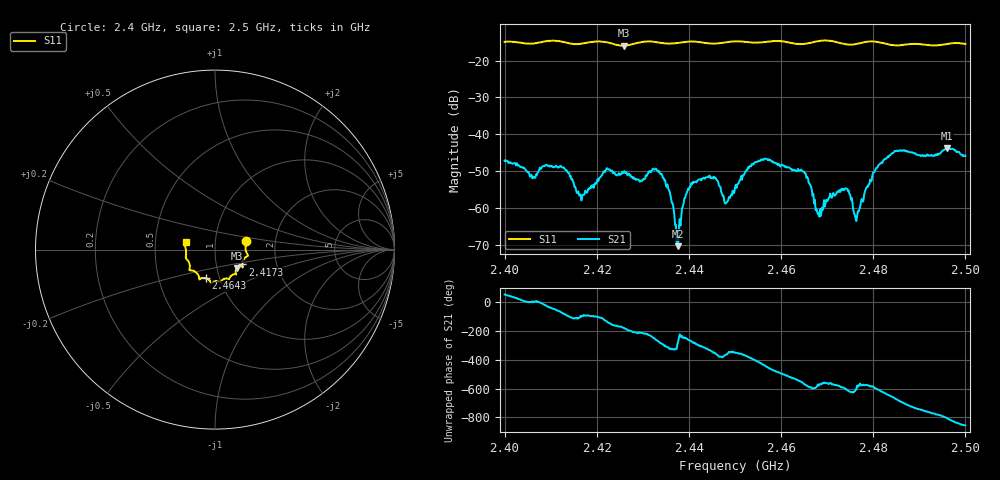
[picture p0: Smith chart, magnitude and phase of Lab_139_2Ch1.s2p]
# Hz S RI R 50
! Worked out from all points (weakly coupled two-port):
!   601 points, 2.4 GHz to 2.5 GHz, reference 50 ohm
!   highest |S21| = -43.73 dB at 2.496 GHz (marker M1); lowest = -70.4 dB at 2.4377 GHz (marker M2)
!   lowest |S11| = -15.9 dB at 2.4258 GHz (marker M3), VSWR 1.38, Z = 62.2 - j13.3 ohm
!   |S11| at or under -10 dB: start of sweep to end of sweep
!   S12 and S22 are empty: the file has one direction only
!   S11 on the Smith chart (normalised r, x): 2.4 GHz: 1.41, +0.14; 2.4173 GHz: 1.34, -0.23; 2.4643 GHz: 0.86, -0.28; 2.5 GHz: 0.72, +0.06
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2.4e9  0.1736 0.0493  0.00264 0.00351  0 0  0 0
2.406167e9  0.1707 -0.00103  0.00265 7.21e-05  0 0  0 0
2.4125e9  0.1768 -0.0381  0.000835 -0.00344  0 0  0 0
2.416667e9  0.1525 -0.0751  -0.000225 -0.00124  0 0  0 0
2.417333e9  0.1518 -0.0824  -2.58e-05 -0.00152  0 0  0 0
2.425833e9  0.1214 -0.1039  -0.00309 -7.38e-05  0 0  0 0
2.433333e9  0.1126 -0.1366  4.69e-05 0.00311  0 0  0 0
2.435833e9  0.0953 -0.1418  0.00135 0.000929  0 0  0 0
2.437667e9  0.084 -0.1527  1.95e-05 0.000301  0 0  0 0
2.441e9  0.0782 -0.1646  0.000514 0.00213  0 0  0 0
2.445667e9  0.0498 -0.1635  0.00252 0.000305  0 0  0 0
2.448167e9  0.0345 -0.1747  0.00117 -8.98e-05  0 0  0 0
2.45e9  0.0294 -0.1808  0.00187 0.000293  0 0  0 0
2.456167e9  -0.00805 -0.1783  0.00115 -0.00434  0 0  0 0
2.464333e9  -0.0501 -0.1603  -0.00323 0.000774  0 0  0 0
2.466667e9  -0.0763 -0.1595  -0.000944 0.00147  0 0  0 0
2.468167e9  -0.0855 -0.1644  -0.000661 0.000554  0 0  0 0
2.474167e9  -0.0988 -0.1343  -0.000761 0.00166  0 0  0 0
2.476333e9  -0.1201 -0.1183  -0.000267 0.000605  0 0  0 0
2.483333e9  -0.1402 -0.0895  0.00125 0.00473  0 0  0 0
2.496e9  -0.1673 0.0197  0.000517 -0.00649  0 0  0 0
2.5e9  -0.1633 0.0416  -0.00366 -0.00354  0 0  0 0
